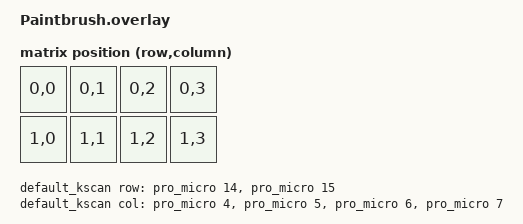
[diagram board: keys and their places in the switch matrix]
/ {
    default_kscan: kscan {
        compatible = "zmk,kscan-gpio-matrix";
        label = "default_kscan";
        diode-direction = "col2row";
        
        row-gpios
            = <&pro_micro 14 (GPIO_ACTIVE_HIGH | GPIO_PULL_DOWN)>
            , <&pro_micro 15 (GPIO_ACTIVE_HIGH | GPIO_PULL_DOWN)>;

        col-gpios
            = <&pro_micro 4 GPIO_ACTIVE_HIGH>
            , <&pro_micro 5 GPIO_ACTIVE_HIGH>
            , <&pro_micro 6 GPIO_ACTIVE_HIGH>
            , <&pro_micro 7 GPIO_ACTIVE_HIGH>;
    };

    default_transform: transform {
        compatible = "zmk,matrix-transform";
        columns = <4>;
        rows = <2>;
        map = <
            RC(0,0) RC(0,1) RC(0,2) RC(0,3)
            RC(1,0) RC(1,1) RC(1,2) RC(1,3)
        >;
    };
};
